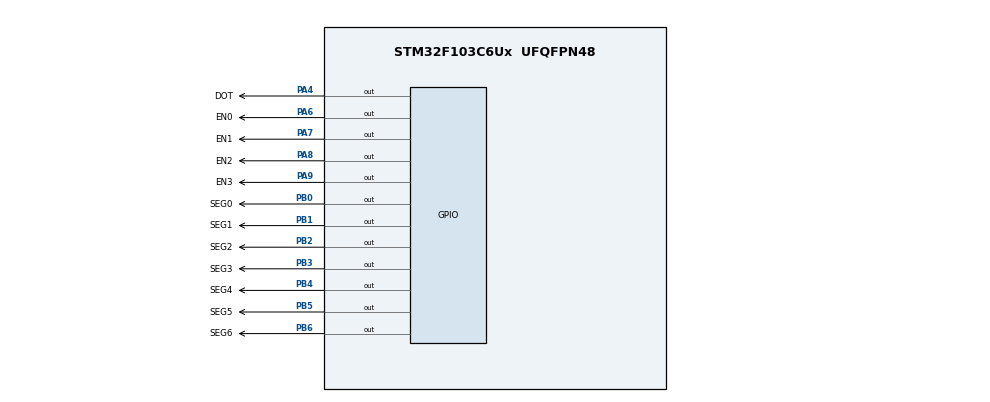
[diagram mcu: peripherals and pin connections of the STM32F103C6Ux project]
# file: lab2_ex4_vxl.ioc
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Mcu.Family=STM32F1
Mcu.Name=STM32F103C6Ux
Mcu.Package=UFQFPN48
NVIC.PriorityGroup=NVIC_PRIORITYGROUP_4
NVIC.TIM2_IRQn=true\:0\:0\:false\:false\:true\:true\:true
PA4.GPIO_Label=DOT
PA4.Signal=GPIO_Output
PA6.GPIO_Label=EN0
PA6.Signal=GPIO_Output
PA7.GPIO_Label=EN1
PA7.Signal=GPIO_Output
PA8.GPIO_Label=EN2
PA8.Signal=GPIO_Output
PA9.GPIO_Label=EN3
PA9.Signal=GPIO_Output
PB0.GPIO_Label=SEG0
PB0.Signal=GPIO_Output
PB1.GPIO_Label=SEG1
PB1.Signal=GPIO_Output
PB2.GPIO_Label=SEG2
PB2.Signal=GPIO_Output
PB3.GPIO_Label=SEG3
PB3.Signal=GPIO_Output
PB4.GPIO_Label=SEG4
PB4.Signal=GPIO_Output
PB5.GPIO_Label=SEG5
PB5.Signal=GPIO_Output
PB6.GPIO_Label=SEG6
PB6.Signal=GPIO_Output
ProjectManager.HeapSize=0x200
ProjectManager.StackSize=0x400
ProjectManager.TargetToolchain=STM32CubeIDE
RCC.APB1Freq_Value=8000000
RCC.APB2Freq_Value=8000000
TIM2.Period=9
TIM2.Prescaler=7999
VP_SYS_VS_ND.Mode=No_Debug
VP_TIM2_VS_ClockSourceINT.Mode=Internal
board=custom

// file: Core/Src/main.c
/* USER CODE BEGIN Header */
/**
  ******************************************************************************
  * @file           : main.c
  * @brief          : Exercise 4 - 1Hz Seven Segment Scanning
  ******************************************************************************
  */
/* USER CODE END Header */

#include "main.h"

TIM_HandleTypeDef htim2;

/* USER CODE BEGIN PV */

/*
 * Number of seven-segment displays
 */
const int MAX_LED = 4;

/*
 * Current display index
 *
 * 0 -> first 7SEG
 * 1 -> second 7SEG
 * 2 -> third 7SEG
 * 3 -> fourth 7SEG
 */
int index_led = 0;

/*
 * Data displayed on the four seven-segment displays
 *
 * LED1 -> 1
 * LED2 -> 2
 * LED3 -> 3
 * LED4 -> 4
 */
int led_buffer[4] = {1, 2, 3, 4};

/*
 * TIM2 interrupt = 10 ms
 *
 * Exercise 4:
 *
 * 4 displays must complete one scan in 1 second.
 *
 * 1 second / 4 = 250 ms per display
 *
 * 250 ms / 10 ms = 25 interrupts
 */
volatile int timer_counter = 0;

/*
 * DOT:
 *
 * 100 x 10 ms = 1000 ms = 1 second
 */
volatile int dot_counter = 0;

/* USER CODE END PV */

void SystemClock_Config(void);
static void MX_GPIO_Init(void);
static void MX_TIM2_Init(void);

/* USER CODE BEGIN PFP */

void display7SEG(int num);
void disableAll7SEG(void);
void update7SEG(int index);

/* USER CODE END PFP */

/* USER CODE BEGIN 0 */

/*
 * ============================================================
 * Disable all four seven-segment displays
 * ============================================================
 *
 * PNP transistor:
 *
 * EN = HIGH -> OFF
 * EN = LOW  -> ON
 */
void disableAll7SEG(void)
{
    HAL_GPIO_WritePin(GPIOA,
                      EN0_Pin |
                      EN1_Pin |
                      EN2_Pin |
                      EN3_Pin,
                      GPIO_PIN_SET);
}

/*
 * ============================================================
 * Display number on seven-segment bus
 * ============================================================
 *
 * Mapping:
 *
 * SEG0 = a
 * SEG1 = b
 * SEG2 = c
 * SEG3 = d
 * SEG4 = e
 * SEG5 = f
 * SEG6 = g
 *
 * COMMON ANODE:
 *
 * LOW  -> segment ON
 * HIGH -> segment OFF
 */
void display7SEG(int num)
{
    /*
     * Turn OFF all segments first
     */
    HAL_GPIO_WritePin(GPIOB,
                      SEG0_Pin |
                      SEG1_Pin |
                      SEG2_Pin |
                      SEG3_Pin |
                      SEG4_Pin |
                      SEG5_Pin |
                      SEG6_Pin,
                      GPIO_PIN_SET);

    switch(num)
    {
        /*
         * Number 0
         * ON = a b c d e f
         */
        case 0:

            HAL_GPIO_WritePin(GPIOB,
                              SEG0_Pin |
                              SEG1_Pin |
                              SEG2_Pin |
                              SEG3_Pin |
                              SEG4_Pin |
                              SEG5_Pin,
                              GPIO_PIN_RESET);
            break;

        /*
         * Number 1
         * ON = b c
         */
        case 1:

            HAL_GPIO_WritePin(GPIOB,
                              SEG1_Pin |
                              SEG2_Pin,
                              GPIO_PIN_RESET);
            break;

        /*
         * Number 2
         * ON = a b d e g
         */
        case 2:

            HAL_GPIO_WritePin(GPIOB,
                              SEG0_Pin |
                              SEG1_Pin |
                              SEG3_Pin |
                              SEG4_Pin |
                              SEG6_Pin,
                              GPIO_PIN_RESET);
            break;

        /*
         * Number 3
         * ON = a b c d g
         */
        case 3:

            HAL_GPIO_WritePin(GPIOB,
                              SEG0_Pin |
                              SEG1_Pin |
                              SEG2_Pin |
                              SEG3_Pin |
                              SEG6_Pin,
                              GPIO_PIN_RESET);
            break;

        /*
         * Number 4
         * ON = b c f g
         */
        case 4:

            HAL_GPIO_WritePin(GPIOB,
                              SEG1_Pin |
                              SEG2_Pin |
                              SEG5_Pin |
                              SEG6_Pin,
                              GPIO_PIN_RESET);
            break;

        /*
         * Number 5
         * ON = a c d f g
         */
        case 5:

            HAL_GPIO_WritePin(GPIOB,
                              SEG0_Pin |
                              SEG2_Pin |
                              SEG3_Pin |
                              SEG5_Pin |
                              SEG6_Pin,
                              GPIO_PIN_RESET);
            break;

        /*
         * Number 6
         * ON = a c d e f g
         */
        case 6:

            HAL_GPIO_WritePin(GPIOB,
                              SEG0_Pin |
                              SEG2_Pin |
                              SEG3_Pin |
                              SEG4_Pin |
                              SEG5_Pin |
                              SEG6_Pin,
                              GPIO_PIN_RESET);
            break;

        /*
         * Number 7
         * ON = a b c
         */
        case 7:

            HAL_GPIO_WritePin(GPIOB,
                              SEG0_Pin |
                              SEG1_Pin |
                              SEG2_Pin,
                              GPIO_PIN_RESET);
            break;

        /*
         * Number 8
         * ON = all segments
         */
        case 8:

            HAL_GPIO_WritePin(GPIOB,
                              SEG0_Pin |
                              SEG1_Pin |
                              SEG2_Pin |
                              SEG3_Pin |
                              SEG4_Pin |
                              SEG5_Pin |
                              SEG6_Pin,
                              GPIO_PIN_RESET);
            break;

        /*
         * Number 9
         * ON = a b c d f g
         */
        case 9:

            HAL_GPIO_WritePin(GPIOB,
                              SEG0_Pin |
                              SEG1_Pin |
                              SEG2_Pin |
                              SEG3_Pin |
                              SEG5_Pin |
                              SEG6_Pin,
                              GPIO_PIN_RESET);
            break;

        default:

            /*
             * Invalid value:
             * keep all segments OFF
             */
            break;
    }
}

/*
 * ============================================================
 * update7SEG()
 * ============================================================
 *
 * index 0 -> first 7SEG  -> led_buffer[0]
 * index 1 -> second 7SEG -> led_buffer[1]
 * index 2 -> third 7SEG  -> led_buffer[2]
 * index 3 -> fourth 7SEG -> led_buffer[3]
 */
void update7SEG(int index)
{
    /*
     * Disable all displays before changing segment data.
     */
    disableAll7SEG();

    switch(index)
    {
        case 0:

            display7SEG(led_buffer[0]);

            HAL_GPIO_WritePin(EN0_GPIO_Port,
                              EN0_Pin,
                              GPIO_PIN_RESET);

            break;

        case 1:

            display7SEG(led_buffer[1]);

            HAL_GPIO_WritePin(EN1_GPIO_Port,
                              EN1_Pin,
                              GPIO_PIN_RESET);

            break;

        case 2:

            display7SEG(led_buffer[2]);

            HAL_GPIO_WritePin(EN2_GPIO_Port,
                              EN2_Pin,
                              GPIO_PIN_RESET);

            break;

        case 3:

            display7SEG(led_buffer[3]);

            HAL_GPIO_WritePin(EN3_GPIO_Port,
                              EN3_Pin,
                              GPIO_PIN_RESET);

            break;

        default:

            break;
    }
}

/* USER CODE END 0 */

int main(void)
{
    /*
     * MCU Configuration
     */

    HAL_Init();

    SystemClock_Config();

    MX_GPIO_Init();
    MX_TIM2_Init();

    /* USER CODE BEGIN 2 */

    /*
     * ============================================================
     * INITIAL STATE
     * ============================================================
     */

    /*
     * Turn OFF all seven-segment displays
     */
    disableAll7SEG();

    /*
     * Turn OFF all segments
     */
    HAL_GPIO_WritePin(GPIOB,
                      SEG0_Pin |
                      SEG1_Pin |
                      SEG2_Pin |
                      SEG3_Pin |
                      SEG4_Pin |
                      SEG5_Pin |
                      SEG6_Pin,
                      GPIO_PIN_SET);

    /*
     * DOT initially OFF
     */
    HAL_GPIO_WritePin(DOT_GPIO_Port,
                      DOT_Pin,
                      GPIO_PIN_SET);

    /*
     * Display first seven-segment immediately
     */
    update7SEG(index_led);

    /*
     * Next display will be display #2
     */
    index_led++;

    if(index_led >= MAX_LED)
    {
        index_led = 0;
    }

    /*
     * Reset counters
     */
    timer_counter = 0;
    dot_counter = 0;

    /*
     * Start TIM2 interrupt
     */
    HAL_TIM_Base_Start_IT(&htim2);

    /* USER CODE END 2 */

    /*
     * Infinite loop
     */
    while(1)
    {

    }
}

void SystemClock_Config(void)
{
    RCC_OscInitTypeDef RCC_OscInitStruct = {0};
    RCC_ClkInitTypeDef RCC_ClkInitStruct = {0};

    /*
     * HSI = 8 MHz
     */
    RCC_OscInitStruct.OscillatorType =
        RCC_OSCILLATORTYPE_HSI;

    RCC_OscInitStruct.HSIState =
        RCC_HSI_ON;

    RCC_OscInitStruct.HSICalibrationValue =
        RCC_HSICALIBRATION_DEFAULT;

    RCC_OscInitStruct.PLL.PLLState =
        RCC_PLL_NONE;

    if(HAL_RCC_OscConfig(&RCC_OscInitStruct) != HAL_OK)
    {
        Error_Handler();
    }

    RCC_ClkInitStruct.ClockType =
        RCC_CLOCKTYPE_HCLK |
        RCC_CLOCKTYPE_SYSCLK |
        RCC_CLOCKTYPE_PCLK1 |
        RCC_CLOCKTYPE_PCLK2;

    RCC_ClkInitStruct.SYSCLKSource =
        RCC_SYSCLKSOURCE_HSI;

    RCC_ClkInitStruct.AHBCLKDivider =
        RCC_SYSCLK_DIV1;

    RCC_ClkInitStruct.APB1CLKDivider =
        RCC_HCLK_DIV1;

    RCC_ClkInitStruct.APB2CLKDivider =
        RCC_HCLK_DIV1;

    if(HAL_RCC_ClockConfig(&RCC_ClkInitStruct,
                           FLASH_LATENCY_0) != HAL_OK)
    {
        Error_Handler();
    }
}

static void MX_TIM2_Init(void)
{
    TIM_ClockConfigTypeDef sClockSourceConfig = {0};
    TIM_MasterConfigTypeDef sMasterConfig = {0};

    /*
     * System Clock = 8 MHz
     *
     * Prescaler = 7999
     *
     * 8 MHz / (7999 + 1)
     * = 1000 Hz
     *
     * Period = 9
     *
     * Counter:
     * 0 -> 9
     * = 10 counts
     *
     * 1000 Hz / 10
     * = 100 Hz
     *
     * Timer interrupt:
     *
     * 1 / 100 Hz
     * = 10 ms
     */

    htim2.Instance = TIM2;

    htim2.Init.Prescaler = 7999;

    htim2.Init.CounterMode =
        TIM_COUNTERMODE_UP;

    htim2.Init.Period = 9;

    htim2.Init.ClockDivision =
        TIM_CLOCKDIVISION_DIV1;

    htim2.Init.AutoReloadPreload =
        TIM_AUTORELOAD_PRELOAD_DISABLE;

    if(HAL_TIM_Base_Init(&htim2) != HAL_OK)
    {
        Error_Handler();
    }

    sClockSourceConfig.ClockSource =
        TIM_CLOCKSOURCE_INTERNAL;

    if(HAL_TIM_ConfigClockSource(&htim2,
                                 &sClockSourceConfig) != HAL_OK)
    {
        Error_Handler();
    }

    sMasterConfig.MasterOutputTrigger =
        TIM_TRGO_RESET;

    sMasterConfig.MasterSlaveMode =
        TIM_MASTERSLAVEMODE_DISABLE;

    if(HAL_TIMEx_MasterConfigSynchronization(&htim2,
                                              &sMasterConfig) != HAL_OK)
    {
        Error_Handler();
    }
}

static void MX_GPIO_Init(void)
{
    GPIO_InitTypeDef GPIO_InitStruct = {0};

    /*
     * GPIO Ports Clock Enable
     */
    __HAL_RCC_GPIOA_CLK_ENABLE();
    __HAL_RCC_GPIOB_CLK_ENABLE();

    /*
     * GPIOA initial output state
     */
    HAL_GPIO_WritePin(GPIOA,
                      DOT_Pin |
                      EN0_Pin |
                      EN1_Pin |
                      EN2_Pin |
                      EN3_Pin,
                      GPIO_PIN_RESET);

    /*
     * GPIOB initial output state
     */
    HAL_GPIO_WritePin(GPIOB,
                      SEG0_Pin |
                      SEG1_Pin |
                      SEG2_Pin |
                      SEG3_Pin |
                      SEG4_Pin |
                      SEG5_Pin |
                      SEG6_Pin,
                      GPIO_PIN_RESET);

    /*
     * GPIOA:
     *
     * PA4 = DOT
     * PA6 = EN0
     * PA7 = EN1
     * PA8 = EN2
     * PA9 = EN3
     */
    GPIO_InitStruct.Pin =
        DOT_Pin |
        EN0_Pin |
        EN1_Pin |
        EN2_Pin |
        EN3_Pin;

    GPIO_InitStruct.Mode =
        GPIO_MODE_OUTPUT_PP;

    GPIO_InitStruct.Pull =
        GPIO_NOPULL;

    GPIO_InitStruct.Speed =
        GPIO_SPEED_FREQ_LOW;

    HAL_GPIO_Init(GPIOA,
                  &GPIO_InitStruct);

    /*
     * GPIOB:
     *
     * PB0 = SEG0
     * PB1 = SEG1
     * PB2 = SEG2
     * PB3 = SEG3
     * PB4 = SEG4
     * PB5 = SEG5
     * PB6 = SEG6
     */
    GPIO_InitStruct.Pin =
        SEG0_Pin |
        SEG1_Pin |
        SEG2_Pin |
        SEG3_Pin |
        SEG4_Pin |
        SEG5_Pin |
        SEG6_Pin;

    GPIO_InitStruct.Mode =
        GPIO_MODE_OUTPUT_PP;

    GPIO_InitStruct.Pull =
        GPIO_NOPULL;

    GPIO_InitStruct.Speed =
        GPIO_SPEED_FREQ_LOW;

    HAL_GPIO_Init(GPIOB,
                  &GPIO_InitStruct);
}

/* USER CODE BEGIN 4 */

/**
 * ============================================================
 * Exercise 4
 * TIM2 interrupt callback
 * ============================================================
 *
 * Timer interrupt = 10 ms
 */
void HAL_TIM_PeriodElapsedCallback(TIM_HandleTypeDef *htim)
{
    if(htim->Instance == TIM2)
    {
        /*
         * ======================================================
         * 7SEG SCANNING
         * ======================================================
         *
         * Desired scanning frequency = 1 Hz
         *
         * One complete scan:
         *
         * LED1 -> LED2 -> LED3 -> LED4
         *
         * must take:
         *
         * T = 1 second
         *
         * Therefore each display:
         *
         * 1000 ms / 4
         * = 250 ms
         *
         * TIM2 interrupt = 10 ms
         *
         * 250 / 10
         * = 25 interrupts
         */

        timer_counter++;

        /*
         * Exercise 4:
         *
         * 25 x 10 ms = 250 ms
         */
        if(timer_counter >= 25)
        {
            timer_counter = 0;

            /*
             * Display current 7SEG
             */
            update7SEG(index_led);

            /*
             * Go to next display
             */
            index_led++;

            /*
             * Keep index in range:
             *
             * 0, 1, 2, 3
             */
            if(index_led >= MAX_LED)
            {
                index_led = 0;
            }
        }

        /*
         * ======================================================
         * DOT BLINKING
         * ======================================================
         *
         * DOT still changes state every 1 second
         */

        dot_counter++;

        /*
         * 100 x 10 ms
         * = 1000 ms
         * = 1 second
         */
        if(dot_counter >= 100)
        {
            dot_counter = 0;

            HAL_GPIO_TogglePin(DOT_GPIO_Port,
                               DOT_Pin);
        }
    }
}

/* USER CODE END 4 */

void Error_Handler(void)
{
    __disable_irq();

    while(1)
    {

    }
}
